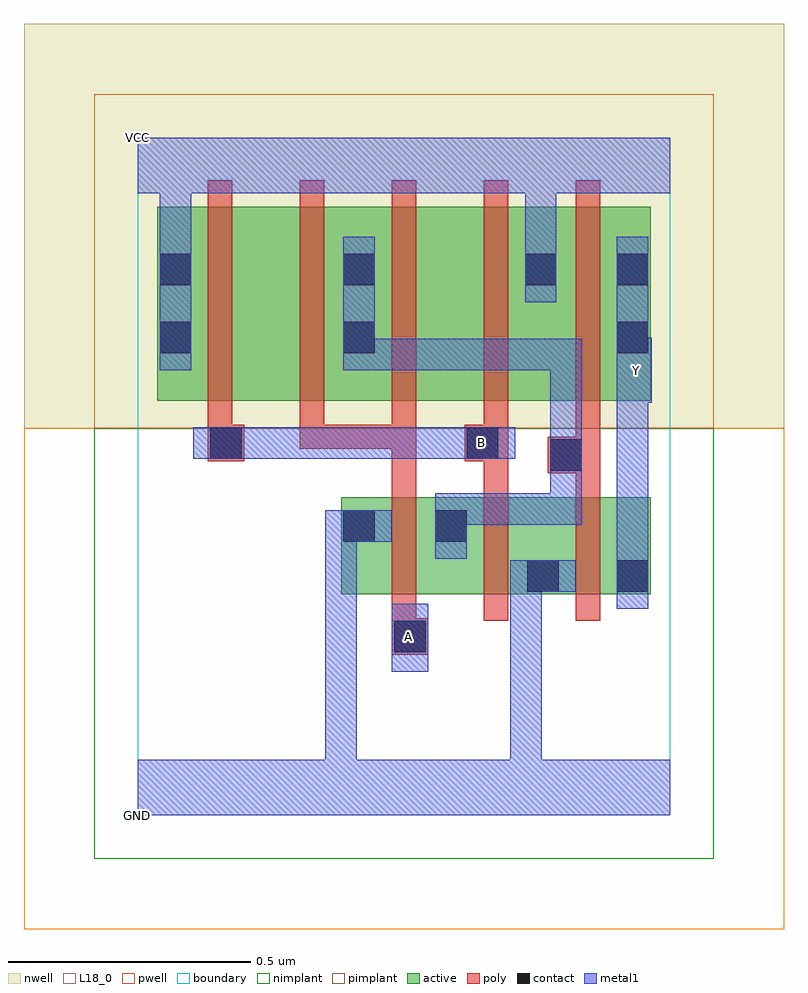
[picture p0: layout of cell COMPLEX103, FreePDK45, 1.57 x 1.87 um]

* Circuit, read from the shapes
.subckt COMPLEX103 A B GND VCC Y
M1 n1 A GND VSUBS nfet w=0.2u l=0.05u
M2 GND B n1 VSUBS nfet w=0.2u l=0.05u
M3 Y n1 GND VSUBS nfet w=0.2u l=0.05u
M4 n2 B VCC n3 pfet w=0.4u l=0.05u
M5 n1 A n2 n3 pfet w=0.4u l=0.05u
M6 n4 A n1 n3 pfet w=0.4u l=0.05u
M7 VCC B n4 n3 pfet w=0.4u l=0.05u
M8 Y n1 VCC n3 pfet w=0.4u l=0.05u
.ends

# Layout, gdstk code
import gdstk
lib = gdstk.Library(unit=1e-6, precision=1e-09)
def R(c, l, rs):  # rectangles x0, y0, x1, y1
    for r in rs: c.add(gdstk.rectangle(r[:2], r[2:], *l))
def A(c, l, x, y, w, h, nx, ny, dx, dy):  # array of equal rectangles
    R(c, l, [(x+i*dx, y+j*dy, x+i*dx+w, y+j*dy+h) for i in range(nx) for j in range(ny)])
active = (1, 0)
pwell = (2, 0)
nwell = (3, 0)
nimplant = (4, 0)
pimplant = (5, 0)
poly = (9, 0)
contact = (10, 0)
metal1 = (11, 0)
L18_0 = (18, 0)
boundary = (235, 0)

complex103 = lib.new_cell('COMPLEX103')
R(complex103, active, [(0.42,0.457,0.495,0.657), (0.42,0.457,0.685,0.657), (0.61,0.457,0.685,0.657), (0.61,0.457,0.875,0.657), (0.8,0.457,1.06,0.657), (0.8,0.457,0.875,0.597), (0.985,0.457,1.06,0.657), (0.04,0.857,0.115,1.257), (0.04,0.857,0.265,1.257), (0.265,0.857,0.495,1.257), (0.42,0.857,0.495,1.2), (0.42,0.857,0.645,1.257), (0.645,0.857,0.87,1.257), (0.795,0.857,1.06,1.257), (0.795,0.857,0.87,1.257), (0.985,0.857,1.06,1.2)])
R(complex103, pwell, [(-0.235,-0.235,1.335,0.8)])
R(complex103, nwell, [(-0.235,0.8,1.335,1.635)])
R(complex103, nimplant, [(-0.09,-0.09,1.19,0.8)])
R(complex103, pimplant, [(-0.09,0.8,1.19,1.49)])
A(complex103, poly, 0.525, 0.402, 0.05, 0.31, 3, 1, 0.19, 0)
A(complex103, poly, 0.145, 0.757, 0.05, 0.095, 4, 1, 0.19, 0)
A(complex103, poly, 0.145, 0.802, 0.05, 0.51, 5, 1, 0.19, 0)
R(complex103, poly, [(0.525,0.332,0.6,0.407), (0.525,0.357,0.575,0.452), (0.525,0.662,0.575,0.807), (0.715,0.662,0.765,0.782), (0.905,0.662,0.955,0.757), (0.847,0.707,0.955,0.782), (0.145,0.732,0.22,0.807), (0.675,0.732,0.765,0.807), (0.905,0.732,0.955,0.852), (0.335,0.757,0.575,0.807), (0.335,0.757,0.385,0.807), (0.335,0.757,0.385,0.807), (0.335,0.757,0.385,0.807), (0.525,0.757,0.575,0.807)])
R(complex103, contact, [(0.53,0.337,0.595,0.402), (0.805,0.462,0.87,0.527), (0.99,0.462,1.055,0.527), (0.425,0.565,0.49,0.63), (0.615,0.565,0.68,0.63), (0.852,0.712,0.917,0.777), (0.15,0.737,0.215,0.802), (0.68,0.737,0.745,0.802), (0.045,0.955,0.11,1.02), (0.425,0.955,0.49,1.02), (0.99,0.955,1.055,1.02), (0.045,1.095,0.11,1.16), (0.425,1.095,0.49,1.16), (0.8,1.095,0.865,1.16), (0.99,1.095,1.055,1.16)])
A(complex103, metal1, 0.322, 0.737, 0.065, 0.065, 3, 1, 0.155, 0)
R(complex103, metal1, [(0,0,1.1,0.115), (0.387,0.05,0.452,0.63), (0.77,0.05,0.835,0.115), (0.77,0.05,0.835,0.115), (0.77,0.05,0.835,0.527), (0.525,0.297,0.6,0.437), (0.99,0.427,1.055,0.562), (0.77,0.462,0.835,0.527), (0.77,0.462,0.835,0.527), (0.77,0.462,0.835,0.527), (0.77,0.462,0.835,0.527), (0.77,0.462,0.835,0.527), (0.77,0.462,0.835,0.527), (0.77,0.462,0.905,0.527), (0.99,0.497,1.055,0.917), (0.615,0.53,0.68,0.665), (0.387,0.565,0.452,0.63), (0.387,0.565,0.452,0.63), (0.387,0.565,0.452,0.63), (0.387,0.565,0.452,0.63), (0.387,0.565,0.452,0.63), (0.387,0.565,0.452,0.63), (0.387,0.565,0.452,0.63), (0.387,0.565,0.452,0.63), (0.387,0.565,0.525,0.63), (0.615,0.6,0.68,0.665), (0.615,0.6,0.68,0.665), (0.615,0.6,0.917,0.665), (0.852,0.6,0.917,0.665), (0.852,0.6,0.917,0.742), (0.852,0.677,0.917,0.742), (0.852,0.677,0.917,0.742), (0.852,0.677,0.917,0.812), (0.852,0.677,0.917,0.985), (0.115,0.737,0.25,0.802), (0.185,0.737,0.25,0.802), (0.185,0.737,0.25,0.802), (0.185,0.737,0.387,0.802), (0.322,0.737,0.387,0.802), (0.322,0.737,0.387,0.802), (0.322,0.737,0.542,0.802), (0.477,0.737,0.697,0.802), (0.632,0.737,0.707,0.802), (0.642,0.737,0.78,0.802), (0.99,0.852,1.062,0.987), (0.045,0.92,0.11,1.195), (0.425,0.92,0.49,1.195), (0.425,0.92,0.525,0.985), (0.46,0.92,0.525,0.985), (0.46,0.92,0.68,0.985), (0.615,0.92,0.68,0.985), (0.615,0.92,0.68,0.985), (0.615,0.92,0.68,0.985), (0.615,0.92,0.917,0.985), (0.852,0.92,0.917,0.985), (0.99,0.92,1.055,0.985), (0.99,0.92,1.055,1.195), (0.8,1.06,0.865,1.195), (0.045,1.13,0.11,1.35), (0.8,1.13,0.865,1.35), (0,1.285,1.1,1.4)])
A(complex103, L18_0, 0.322, 0.737, 0.065, 0.065, 3, 1, 0.155, 0)
R(complex103, L18_0, [(0,0,1.1,0.115), (0.387,0.05,0.452,0.63), (0.77,0.05,0.835,0.115), (0.77,0.05,0.835,0.115), (0.77,0.05,0.835,0.527), (0.525,0.297,0.6,0.437), (0.527,0.337,0.592,0.402), (0.99,0.427,1.055,0.562), (0.77,0.462,0.905,0.527), (0.77,0.462,0.835,0.527), (0.77,0.462,0.835,0.527), (0.77,0.462,0.835,0.527), (0.77,0.462,0.835,0.527), (0.77,0.462,0.835,0.527), (0.77,0.462,0.835,0.527), (0.99,0.497,1.055,0.917), (0.387,0.565,0.452,0.63), (0.387,0.565,0.452,0.63), (0.387,0.565,0.452,0.63), (0.387,0.565,0.452,0.63), (0.387,0.565,0.452,0.63), (0.387,0.565,0.452,0.63), (0.387,0.565,0.452,0.63), (0.387,0.565,0.452,0.63), (0.387,0.565,0.525,0.63), (0.115,0.737,0.25,0.802), (0.185,0.737,0.25,0.802), (0.185,0.737,0.25,0.802), (0.185,0.737,0.387,0.802), (0.322,0.737,0.387,0.802), (0.322,0.737,0.387,0.802), (0.322,0.737,0.542,0.802), (0.477,0.737,0.697,0.802), (0.632,0.737,0.707,0.802), (0.642,0.737,0.78,0.802), (0.677,0.737,0.742,0.802), (0.99,0.852,1.062,0.987), (0.997,0.887,1.062,0.952), (0.045,0.92,0.11,1.195), (0.99,0.92,1.055,1.195), (0.99,0.92,1.055,0.985), (0.8,1.06,0.865,1.195), (0.045,1.13,0.11,1.35), (0.8,1.13,0.865,1.35), (0,1.285,1.1,1.4)])
R(complex103, boundary, [(0,0,1.1,1.4)])
complex103.add(gdstk.Label('A', (0.56,0.37), layer=11, texttype=0))
complex103.add(gdstk.Label('B', (0.71,0.77), layer=11, texttype=0))
complex103.add(gdstk.Label('Y', (1.03,0.92), layer=11, texttype=0))
complex103.add(gdstk.Label('VCC', (0,1.4), layer=11, texttype=0))
complex103.add(gdstk.Label('GND', (0,0), layer=11, texttype=0))

lib.write_gds('COMPLEX103.gds')
